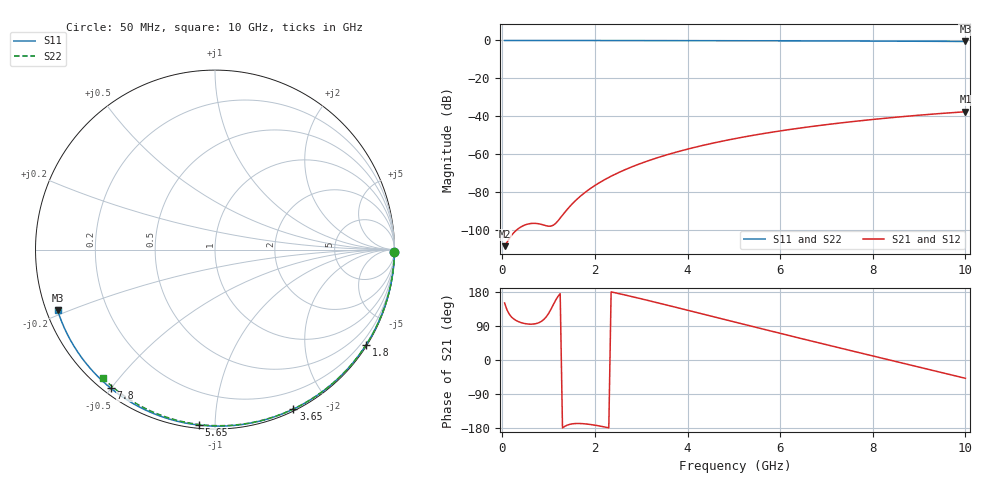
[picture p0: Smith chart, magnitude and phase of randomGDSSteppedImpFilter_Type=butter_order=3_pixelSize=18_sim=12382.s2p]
! freq	dB(S11)	phase(S11)	dB(S12)	phase(S12)
!  dB(S21)	phase(S21)	dB(S22)	phase(S22)
!S-par simulation data
#  GHz  S  DB  R 50
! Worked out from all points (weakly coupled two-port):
!   200 points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, 50 MHz to 10 GHz, reference 50 ohm
!   highest |S21| = -37.64 dB at 10 GHz (marker M1); lowest = -108.6 dB at 50 MHz (marker M2)
!   lowest |S11| = -0.5 dB at 10 GHz (marker M3), VSWR 32.38, Z = 1.6 - j9.3 ohm
!   |S11| at or under -10 dB: nowhere
!   |S22| runs from -0.4 to 0.0 dB; largest |S21 - S12| = 0
!   S11 on the Smith chart (normalised r, x): 50 MHz: open; 1.8 GHz: 0.03, -3.45; 3.65 GHz: 0.02, -1.61; 5.65 GHz: 0.02, -0.91; 7.8 GHz: 0.02, -0.50; 10 GHz: 0.03, -0.19
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0.05  -0.00 -0.9  -108.57 150.4  -108.57 150.4  -0.00 -0.8
0.45  -0.01 -8.2  -97.79 97.1  -97.79 97.1  -0.01 -6.8
0.9  -0.02 -16.3  -97.45 107.2  -97.45 107.2  -0.02 -13.5
1.3  -0.03 -23.5  -92.22 -179.1  -92.22 -179.1  -0.02 -19.5
1.75  -0.04 -31.5  -80.91 -168.1  -80.91 -168.1  -0.03 -26.1
1.8  -0.04 -32.3  -79.95 -168.6  -79.95 -168.6  -0.03 -26.8
2.1  -0.05 -37.6  -75.01 -174.2  -75.01 -174.2  -0.04 -31.2
2.3  -0.05 -41.1  -72.28 -179.0  -72.28 -179.0  -0.04 -34.1
2.5  -0.06 -44.5  -69.86 175.7  -69.86 175.7  -0.05 -37.0
2.9  -0.07 -51.3  -65.73 164.4  -65.73 164.4  -0.06 -42.7
3.4  -0.08 -59.7  -61.50 149.6  -61.50 149.6  -0.07 -49.7
3.65  -0.09 -63.8  -59.66 142.0  -59.66 142.0  -0.07 -53.2
4.3  -0.11 -74.3  -55.55 122.2  -55.55 122.2  -0.09 -62.0
5.05  -0.13 -86.1  -51.69 99.3  -51.69 99.3  -0.11 -72.0
5.65  -0.16 -95.3  -49.09 81.0  -49.09 81.0  -0.13 -79.7
6.15  -0.18 -102.8  -47.20 65.8  -47.20 65.8  -0.15 -86.0
6.7  -0.22 -110.9  -45.34 49.3  -45.34 49.3  -0.18 -92.8
7.25  -0.25 -118.9  -43.69 32.9  -43.69 32.9  -0.21 -99.4
7.8  -0.30 -126.9  -42.20 16.7  -42.20 16.7  -0.25 -105.9
8.35  -0.35 -134.8  -40.86 0.5  -40.86 0.5  -0.29 -112.3
9.2  -0.44 -147.1  -39.04 -24.5  -39.04 -24.5  -0.36 -122.0
10  -0.54 -158.9  -37.64 -48.3  -37.64 -48.3  -0.45 -131.0
